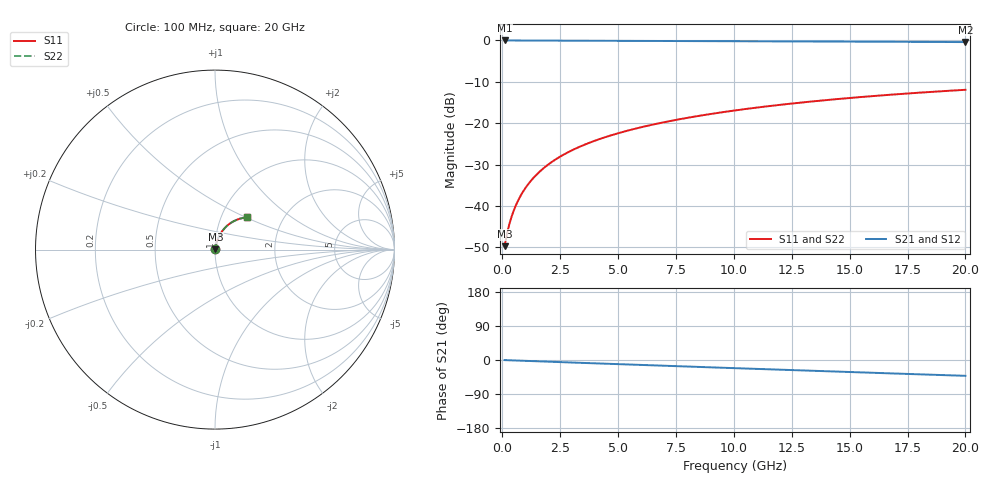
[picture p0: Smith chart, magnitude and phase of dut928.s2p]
! Touchstone file exported from HFSS 2026.1.0
!  File:  C:/ffzhzh/LocalFiles/Ansys_Project_Files/temp_train_TMRDL_928_1783158285_18472.aedt
!  Generated:  05:45:58 PM Jul  4, 2026
!  Design:  TMRDL
!  Project:  temp_train_TMRDL_928_1783158285_18472
! Variables:
!  h_bsmrdl = 2um
!  h_ox = 20um
!  h_rdl = 5um
!  h_sub = 80um
!  h_tmrdl = 5.82um
!  h_tsv = 80um
!  h_via = 3um
!  l_bsmrdl = 300um
!  l_sub = 1103.18um
!  l_tmrdl = 703.18um
!  m_sub = 200um
!  pitch = 30.37um
!  r_tsv = 6um
!  s_tmrdl = 10um
!  w_bsmrdl = 18um
!  w_sub = 500um
!  w_tmrdl = 16.84um
!  x_tsv_center1 = 711.6um
!  x_tsv_center2 = 1029.6um
!  x_tsv_center3 = 1749.62um
!  x_tsv_center4 = 2067.62um
!  x_tsv_center5 = 2787.64um
!  x_tsv_center6 = 3105.64um
# GHz S MA R 50.000000
! Terminal data exported
! Port[1] = TM_RDL1_1_T1
! Port[2] = TM_RDL1_1_T2
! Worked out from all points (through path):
!   200 points, 100 MHz to 20 GHz, reference 50 ohm
!   highest |S21| = -0.02 dB at 100 MHz (marker M1); lowest = -0.4 dB at 20 GHz (marker M2)
!   group delay of S21, straight-line fit = 5.78 ps
!   lowest |S11| = -49.7 dB at 100 MHz (marker M3), VSWR 1.01, Z = 50.3 + j0.185 ohm
!   |S11| at or under -10 dB: start of sweep to end of sweep
!   |S22| runs from -49.7 to -11.9 dB; largest |S21 - S12| = 3.5e-15
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0.1  0.003267 34.3  0.9973 -0.2  0.9973 -0.2  0.003267 34.3
! Gamma 0 0 0 0
! Port Impedance 50 0 50 0
0.2  0.004571 50.4  0.9971 -0.5  0.9971 -0.5  0.004571 50.4
0.3  0.00597 58.7  0.9969 -0.7  0.9969 -0.7  0.00597 58.7
0.4  0.007406 63.9  0.9968 -0.9  0.9968 -0.9  0.007406 63.9
0.5  0.008873 67.5  0.9967 -1.1  0.9967 -1.1  0.008873 67.5
0.6  0.01037 70.1  0.9967 -1.4  0.9967 -1.4  0.01037 70.1
0.8  0.01341 73.4  0.9965 -1.8  0.9965 -1.8  0.01341 73.4
1.1  0.01803 75.9  0.9962 -2.5  0.9962 -2.5  0.01803 75.9
1.3  0.02113 76.8  0.996 -2.9  0.996 -2.9  0.02113 76.8
1.6  0.02576 77.4  0.9956 -3.6  0.9956 -3.6  0.02576 77.4
2.1  0.03341 77.5  0.9949 -4.7  0.9949 -4.7  0.03341 77.5
2.7  0.04243 77.0  0.9939 -6.0  0.9939 -6.0  0.04243 77.0
3.5  0.05419 75.9  0.9925 -7.7  0.9925 -7.7  0.05419 75.9
4.2  0.06424 74.7  0.9912 -9.2  0.9912 -9.2  0.06424 74.7
5  0.0755 73.3  0.9896 -10.9  0.9896 -10.9  0.0755 73.3
5.9  0.08792 71.7  0.9878 -12.9  0.9878 -12.9  0.08792 71.7
6.8  0.1001 70.1  0.986 -14.8  0.986 -14.8  0.1001 70.1
8.3  0.12 67.3  0.9828 -17.9  0.9828 -17.9  0.12 67.3
10.1  0.1431 63.9  0.9787 -21.7  0.9787 -21.7  0.1431 63.9
13.4  0.1831 57.7  0.9706 -28.5  0.9706 -28.5  0.1831 57.7
16.7  0.2198 51.4  0.9619 -35.2  0.9619 -35.2  0.2198 51.3
20  0.2529 45.1  0.953 -41.8  0.953 -41.8  0.2528 45.1
